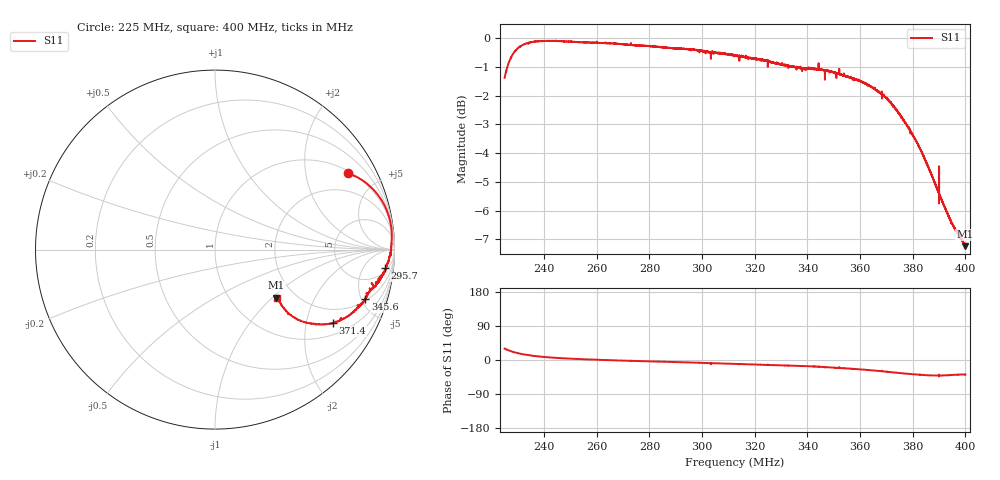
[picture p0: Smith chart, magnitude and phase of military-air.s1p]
! Calibrated averaged scanner-service zoom
# Hz S RI R 50
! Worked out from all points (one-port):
!   10001 points, 225 MHz to 400 MHz, reference 50 ohm
!   lowest |S11| = -7.2 dB at 399.7 MHz (marker M1), VSWR 2.54, Z = 80.4 - j53.1 ohm
!   |S11| at or under -10 dB: nowhere
!   S11 on the Smith chart (normalised r, x): 225 MHz: 1.09, +3.41; 295.7 MHz: 7, -15; 345.6 MHz: 2.17, -5.37; 371.4 MHz: 1.41, -2.88; 400 MHz: 1.60, -1.07
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2.25e8  0.7393 0.4265
2.257175e8  0.7803 0.4092
2.269425e8  0.8346 0.3765
2.282025e8  0.8754 0.3416
2.2983e8  0.911 0.3
2.319475e8  0.9406 0.2535
2.35045e8  0.9643 0.1996
2.382475e8  0.9759 0.1567
2.420625e8  0.9827 0.1177
2.46875e8  0.9853 0.08
2.54925e8  0.9831 0.0347
2.6875e8  0.9775 -0.0233
2.90625e8  0.9547 -0.0925
2.95735e8  0.9467 -0.1037
3.125e8  0.9199 -0.1672
3.34375e8  0.8619 -0.2328
3.4029e8  0.8492 -0.2503
3.455925e8  0.837 -0.2762
3.5625e8  0.7878 -0.3303
3.641075e8  0.7334 -0.3748
3.68325e8  0.7038 -0.3809
3.713875e8  0.6578 -0.4092
3.78125e8  0.5656 -0.4158
3.843375e8  0.4764 -0.3959
3.909e8  0.3962 -0.3426
3.9587e8  0.3629 -0.2951
3.997375e8  0.3425 -0.2678
4e8  0.3425 -0.2697
